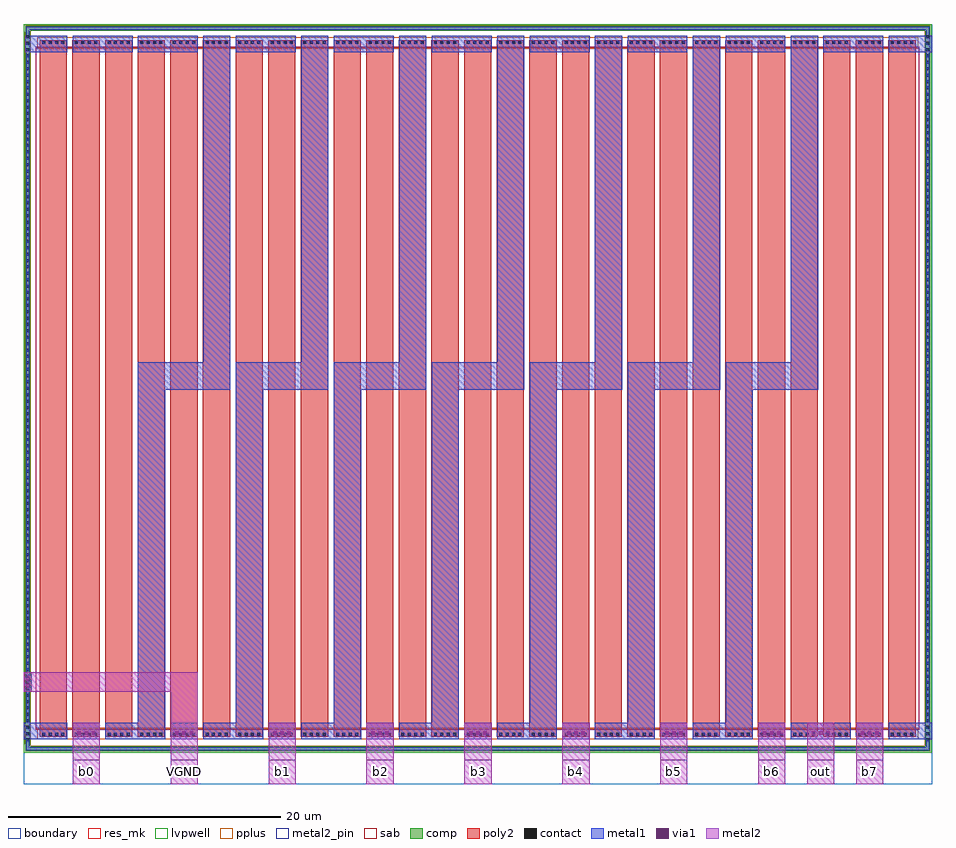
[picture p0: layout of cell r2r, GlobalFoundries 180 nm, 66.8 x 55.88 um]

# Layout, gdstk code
import gdstk
lib = gdstk.Library(unit=1e-6, precision=1e-09)
def R(c, l, rs):  # rectangles x0, y0, x1, y1
    for r in rs: c.add(gdstk.rectangle(r[:2], r[2:], *l))
def A(c, l, x, y, w, h, nx, ny, dx, dy):  # array of equal rectangles
    R(c, l, [(x+i*dx, y+j*dy, x+i*dx+w, y+j*dy+h) for i in range(nx) for j in range(ny)])
boundary = (0, 0)
comp = (22, 0)
poly2 = (30, 0)
pplus = (31, 0)
contact = (33, 0)
metal1 = (34, 0)
via1 = (35, 0)
metal2 = (36, 0)
metal2_pin = (36, 10)
sab = (49, 0)
res_mk = (110, 5)
lvpwell = (204, 0)

ppolyf_u_1k_7hw445 = lib.new_cell('ppolyf_u_1k_7HW445')
R(ppolyf_u_1k_7hw445, boundary, [(-33.08,-26.49,33.08,26.49)])
R(ppolyf_u_1k_7hw445, comp, [(-33.26,-26.67,33.26,-26.31), (-33.26,-26.31,-32.9,26.31), (32.9,-26.31,33.26,26.31), (-33.26,26.31,33.26,26.67)])
A(ppolyf_u_1k_7hw445, poly2, -32.2, -25.61, 2, 51.22, 27, 1, 2.4, 0)
R(ppolyf_u_1k_7hw445, pplus, [(-33.28,-26.69,33.28,-26.29), (-33.28,-26.29,-32.87,-26.185), (32.87,-26.29,33.28,-26.185), (-33.29,-26.185,-32.87,26.185), (32.87,-26.185,33.29,26.185), (-32.4,-25.81,32.4,-25), (-32.4,25,32.4,25.81), (-33.28,26.185,-32.87,26.29), (32.87,26.185,33.28,26.29), (-33.28,26.29,33.28,26.69)])
A(ppolyf_u_1k_7hw445, contact, -33.19, -25.96, 0.22, 0.22, 1, 111, 0, 0.47)
A(ppolyf_u_1k_7hw445, contact, 32.97, -25.96, 0.22, 0.22, 1, 111, 0, 0.47)
A(ppolyf_u_1k_7hw445, contact, -32.015, -25.54, 0.22, 0.22, 4, 2, 0.47, 50.86)
A(ppolyf_u_1k_7hw445, contact, -29.615, -25.54, 0.22, 0.22, 4, 2, 0.47, 50.86)
A(ppolyf_u_1k_7hw445, contact, -27.215, -25.54, 0.22, 0.22, 4, 2, 0.47, 50.86)
A(ppolyf_u_1k_7hw445, contact, -24.815, -25.54, 0.22, 0.22, 4, 2, 0.47, 50.86)
A(ppolyf_u_1k_7hw445, contact, -22.415, -25.54, 0.22, 0.22, 4, 2, 0.47, 50.86)
A(ppolyf_u_1k_7hw445, contact, -20.015, -25.54, 0.22, 0.22, 4, 2, 0.47, 50.86)
A(ppolyf_u_1k_7hw445, contact, -17.615, -25.54, 0.22, 0.22, 4, 2, 0.47, 50.86)
A(ppolyf_u_1k_7hw445, contact, -15.215, -25.54, 0.22, 0.22, 4, 2, 0.47, 50.86)
A(ppolyf_u_1k_7hw445, contact, -12.815, -25.54, 0.22, 0.22, 4, 2, 0.47, 50.86)
A(ppolyf_u_1k_7hw445, contact, -10.415, -25.54, 0.22, 0.22, 4, 2, 0.47, 50.86)
A(ppolyf_u_1k_7hw445, contact, -8.015, -25.54, 0.22, 0.22, 4, 2, 0.47, 50.86)
A(ppolyf_u_1k_7hw445, contact, -5.615, -25.54, 0.22, 0.22, 4, 2, 0.47, 50.86)
A(ppolyf_u_1k_7hw445, contact, -3.215, -25.54, 0.22, 0.22, 4, 2, 0.47, 50.86)
A(ppolyf_u_1k_7hw445, contact, -0.815, -25.54, 0.22, 0.22, 4, 2, 0.47, 50.86)
A(ppolyf_u_1k_7hw445, contact, 1.585, -25.54, 0.22, 0.22, 4, 2, 0.47, 50.86)
A(ppolyf_u_1k_7hw445, contact, 3.985, -25.54, 0.22, 0.22, 4, 2, 0.47, 50.86)
A(ppolyf_u_1k_7hw445, contact, 6.385, -25.54, 0.22, 0.22, 4, 2, 0.47, 50.86)
A(ppolyf_u_1k_7hw445, contact, 8.785, -25.54, 0.22, 0.22, 4, 2, 0.47, 50.86)
A(ppolyf_u_1k_7hw445, contact, 11.185, -25.54, 0.22, 0.22, 4, 2, 0.47, 50.86)
A(ppolyf_u_1k_7hw445, contact, 13.585, -25.54, 0.22, 0.22, 4, 2, 0.47, 50.86)
A(ppolyf_u_1k_7hw445, contact, 15.985, -25.54, 0.22, 0.22, 4, 2, 0.47, 50.86)
A(ppolyf_u_1k_7hw445, contact, 18.385, -25.54, 0.22, 0.22, 4, 2, 0.47, 50.86)
A(ppolyf_u_1k_7hw445, contact, 20.785, -25.54, 0.22, 0.22, 4, 2, 0.47, 50.86)
A(ppolyf_u_1k_7hw445, contact, 23.185, -25.54, 0.22, 0.22, 4, 2, 0.47, 50.86)
A(ppolyf_u_1k_7hw445, contact, 25.585, -25.54, 0.22, 0.22, 4, 2, 0.47, 50.86)
A(ppolyf_u_1k_7hw445, contact, 27.985, -25.54, 0.22, 0.22, 4, 2, 0.47, 50.86)
A(ppolyf_u_1k_7hw445, contact, 30.385, -25.54, 0.22, 0.22, 4, 2, 0.47, 50.86)
A(ppolyf_u_1k_7hw445, metal1, -32.19, -25.545, 1.98, 0.23, 27, 2, 2.4, 50.86)
R(ppolyf_u_1k_7hw445, metal1, [(-33.195,-26.605,33.195,-26.375), (-33.195,-26.375,-32.965,26.375), (32.965,-26.375,33.195,26.375), (-33.195,26.375,33.195,26.605)])
R(ppolyf_u_1k_7hw445, sab, [(-32.48,-25.1,32.48,25.1), (-32.48,-25,32.48,25)])
A(ppolyf_u_1k_7hw445, res_mk, -32.2, -25, 2, 50, 27, 1, 2.4, 0)
R(ppolyf_u_1k_7hw445, res_mk, [(-32.48,-25,32.48,25)])
R(ppolyf_u_1k_7hw445, lvpwell, [(-33.38,-26.79,33.38,26.79)])

r2r = lib.new_cell('r2r')
R(r2r, boundary, [(-0.3,-2.6,66.5,53.25)])
A(r2r, metal1, 3.3, 0.7, 2, 1.2, 9, 1, 7.2, 0)
A(r2r, metal1, 12.9, 0.7, 4.4, 0.245, 6, 1, 7.2, 0)
A(r2r, metal1, 12.89, 0.945, 4.41, 0.23, 6, 1, 7.2, 0)
A(r2r, metal1, 12.9, 1.175, 4.4, 0.725, 6, 1, 7.2, 0)
A(r2r, metal1, 8.1, 1.9, 2, 24.5, 7, 1, 7.2, 0)
A(r2r, metal1, 8.1, 26.4, 6.8, 2, 7, 1, 7.2, 0)
A(r2r, metal1, 20.1, 28.4, 2, 23.405, 6, 1, 7.2, 0)
A(r2r, metal1, 8.1, 51.2, 4.4, 1.2, 8, 1, 7.2, 0)
A(r2r, metal1, 20.09, 51.805, 2.01, 0.23, 6, 1, 7.2, 0)
A(r2r, metal1, 20.1, 52.035, 2, 0.365, 6, 1, 7.2, 0)
R(r2r, metal1, [(-0.3,0.7,2.9,1.9), (5.7,0.7,10.1,1.9), (56.1,0.7,60.5,1.9), (63.3,0.7,66.5,1.9), (-0.3,4.2,0.3,5.6), (12.9,28.4,14.9,52.4), (-0.2,51.2,2.9,52.4), (3.3,51.2,7.7,52.4), (63.3,51.2,66.5,52.4)])
A(r2r, via1, 3.65, 1.02, 0.26, 0.26, 3, 1, 0.52, 0)
A(r2r, via1, 10.85, 1.02, 0.26, 0.26, 3, 1, 0.52, 0)
A(r2r, via1, 18.05, 1.02, 0.26, 0.26, 3, 1, 0.52, 0)
A(r2r, via1, 25.25, 1.02, 0.26, 0.26, 3, 1, 0.52, 0)
A(r2r, via1, 32.45, 1.02, 0.26, 0.26, 3, 1, 0.52, 0)
A(r2r, via1, 39.65, 1.02, 0.26, 0.26, 3, 1, 0.52, 0)
A(r2r, via1, 46.85, 1.02, 0.26, 0.26, 3, 1, 0.52, 0)
A(r2r, via1, 54.05, 1.02, 0.26, 0.26, 3, 1, 0.52, 0)
A(r2r, via1, 57.65, 1.02, 0.26, 0.26, 3, 1, 0.52, 0)
A(r2r, via1, 61.25, 1.02, 0.26, 0.26, 3, 1, 0.52, 0)
R(r2r, via1, [(-0.13,4.51,0.13,4.77), (-0.13,5.03,0.13,5.29)])
A(r2r, metal2, 17.7, -2.6, 2, 4.5, 6, 1, 7.2, 0)
R(r2r, metal2, [(3.3,-2.6,5.3,1.9), (10.5,-2.6,12.5,4.2), (57.3,-2.6,59.3,1.9), (60.9,-2.6,62.9,1.9), (-0.3,4.2,12.5,5.6)])
A(r2r, metal2_pin, 3.3, -2.6, 2, 1.8, 8, 1, 7.2, 0)
R(r2r, metal2_pin, [(57.3,-2.6,59.3,-0.8), (60.9,-2.6,62.9,-0.8)])
A(r2r, lvpwell, 3.3, 0.7, 2, 1.2, 9, 1, 7.2, 0)
A(r2r, lvpwell, 5.7, 0.7, 4.4, 1.2, 6, 1, 7.2, 0)
R(r2r, lvpwell, [(-0.3,0.7,2.9,1.9), (56.1,0.7,60.5,1.9), (12.9,27.2,14.9,52.4), (8.1,51.2,12.5,52.4)])
r2r.add(gdstk.Reference(ppolyf_u_1k_7hw445, (33.08,26.49)))
r2r.add(gdstk.Label('b0', (4.3,-1.7), layer=36, texttype=10))
r2r.add(gdstk.Label('VGND', (11.5,-1.7), layer=36, texttype=10))
r2r.add(gdstk.Label('b1', (18.7,-1.7), layer=36, texttype=10))
r2r.add(gdstk.Label('b2', (25.9,-1.7), layer=36, texttype=10))
r2r.add(gdstk.Label('b3', (33.1,-1.7), layer=36, texttype=10))
r2r.add(gdstk.Label('b4', (40.3,-1.7), layer=36, texttype=10))
r2r.add(gdstk.Label('b5', (47.5,-1.7), layer=36, texttype=10))
r2r.add(gdstk.Label('b6', (54.7,-1.7), layer=36, texttype=10))
r2r.add(gdstk.Label('b7', (61.9,-1.7), layer=36, texttype=10))
r2r.add(gdstk.Label('out', (58.3,-1.7), layer=36, texttype=10))

lib.write_gds('r2r.gds')
